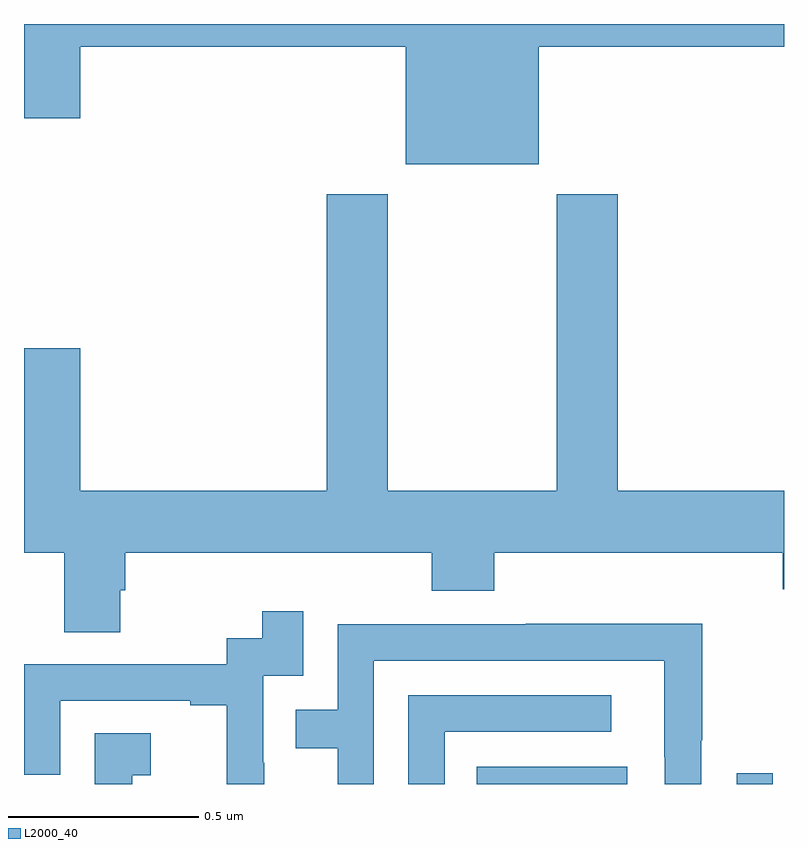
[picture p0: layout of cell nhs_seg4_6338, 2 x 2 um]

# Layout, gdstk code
import gdstk
lib = gdstk.Library(unit=1e-6, precision=1e-09)
def R(c, l, rs):  # rectangles x0, y0, x1, y1
    for r in rs: c.add(gdstk.rectangle(r[:2], r[2:], *l))
def P(c, l, *ps):  # polygons
    for p in ps: c.add(gdstk.Polygon(p, *l))
L2000_40 = (2000, 40)

nhs_seg4_6338 = lib.new_cell('nhs_seg4_6338')
R(nhs_seg4_6338, L2000_40, [(190.192,774.9,190.588,774.946), (190.875,774.9,190.971,774.928)])
P(nhs_seg4_6338, L2000_40, [(190.354,776.84),(191,776.84),(191,776.9),(189,776.9),(189,776.652),(189.148,776.652),(189.148,776.84),(190.004,776.84),(190.004,776.531),(190.354,776.531)],
  [(189.253,775.41),(189.266,775.41),(189.266,775.508),(190.073,775.508),(190.073,775.409),(190.238,775.409),(190.238,775.508),(190.997,775.508),(190.997,775.412),(191,775.412),(191,775.672),(190.562,775.672),(190.562,776.452),(190.402,776.452),(190.402,775.672),(189.957,775.672),(189.957,776.452),(189.797,776.452),(189.797,775.672),(189.148,775.672),(189.148,776.047),(189,776.047),(189,775.508),(189.106,775.508),(189.106,775.3),(189.253,775.3)],
  [(189.632,774.956),(189.63,774.956),(189.63,775.185),(189.735,775.185),(189.735,775.354),(189.627,775.354),(189.627,775.284),(189.534,775.284),(189.534,775.215),(189,775.215),(189,774.924),(189.096,774.924),(189.096,775.119),(189.437,775.119),(189.437,775.107),(189.533,775.107),(189.533,774.9),(189.632,774.9)],
  [(189.921,775.224),(190.685,775.224),(190.685,774.97),(190.686,774.97),(190.686,774.9),(190.782,774.9),(190.782,775.015),(190.785,775.015),(190.785,775.322),(190.321,775.322),(190.321,775.32),(189.825,775.32),(189.825,775.095),(189.715,775.095),(189.715,774.994),(189.825,774.994),(189.825,774.9),(189.921,774.9)],
  [(190.107,775.038),(190.546,775.038),(190.546,775.134),(190.011,775.134),(190.011,774.9),(190.107,774.9)],
  [(189.285,774.923),(189.334,774.923),(189.334,775.033),(189.186,775.033),(189.186,774.9),(189.285,774.9)])

lib.write_gds('nhs_seg4_6338.gds')
